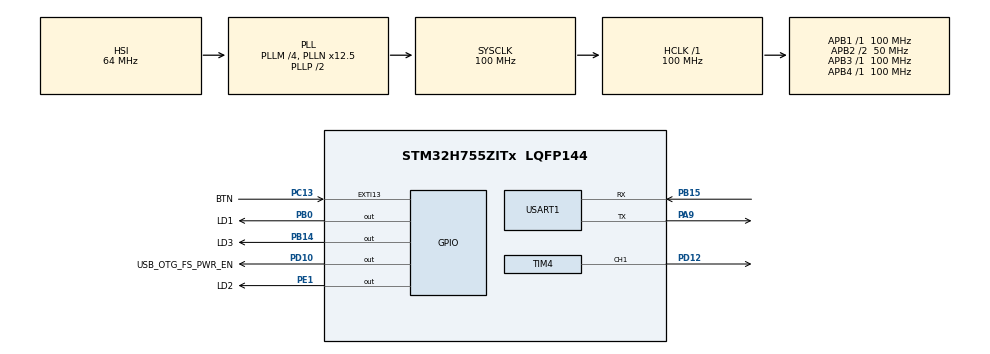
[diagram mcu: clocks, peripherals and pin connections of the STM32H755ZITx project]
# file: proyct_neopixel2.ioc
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CortexM4.IPs=FATFS_M4\:I,FREERTOS_M4\:I,IWDG2\:I,RCC,WWDG2\:I,DMA,BDMA,MDMA,NVIC2\:I,USART3,DEBUG,PDM2PCM_M4\:I,PWR,RESMGR_UTILITY,SYS_M4\:I,USB_DEVICE_M4\:I,USB_HOST_M4\:I,CORTEX_M4\:I,GPIO,OPENAMP_M4\:I,VREFBUF,NUCLEO-H755ZI-Q
CortexM7.IPs=FATFS_M7\:I,FREERTOS_M7\:I,IWDG1\:I,RCC\:I,WWDG1\:I,DMA\:I,BDMA\:I,MDMA\:I,NVIC1\:I,USART3\:I,SYS\:I,CORTEX_M7\:I,DEBUG\:I,PDM2PCM_M7\:I,PWR\:I,RESMGR_UTILITY\:I,USB_DEVICE_M7\:I,USB_HOST_M7\:I,GPIO\:I,OPENAMP_M7\:I,VREFBUF\:I,NUCLEO-H755ZI-Q\:I,MEMORYMAP\:I,TIM4\:I,USART1\:I
CortexM7.Pins=PC13,PB0,PB14,PE1
Dma.Request0=TIM4_CH1
Dma.TIM4_CH1.0.Direction=DMA_MEMORY_TO_PERIPH
Dma.TIM4_CH1.0.EventEnable=DISABLE
Dma.TIM4_CH1.0.FIFOMode=DMA_FIFOMODE_DISABLE
Dma.TIM4_CH1.0.Instance=DMA1_Stream0
Dma.TIM4_CH1.0.MemDataAlignment=DMA_MDATAALIGN_HALFWORD
Dma.TIM4_CH1.0.MemInc=DMA_MINC_ENABLE
Dma.TIM4_CH1.0.Mode=DMA_CIRCULAR
Dma.TIM4_CH1.0.PeriphDataAlignment=DMA_PDATAALIGN_HALFWORD
Dma.TIM4_CH1.0.PeriphInc=DMA_PINC_DISABLE
Dma.TIM4_CH1.0.Polarity=HAL_DMAMUX_REQ_GEN_RISING
Dma.TIM4_CH1.0.Priority=DMA_PRIORITY_LOW
Dma.TIM4_CH1.0.RequestNumber=1
Dma.TIM4_CH1.0.SignalID=NONE
Dma.TIM4_CH1.0.SyncEnable=DISABLE
Dma.TIM4_CH1.0.SyncPolarity=HAL_DMAMUX_SYNC_NO_EVENT
Dma.TIM4_CH1.0.SyncRequestNumber=1
Dma.TIM4_CH1.0.SyncSignalID=NONE
Mcu.Family=STM32H7
Mcu.Name=STM32H755ZITx
Mcu.Package=LQFP144
Mcu.UserConstants=LED_CNT-CortexM7,125
NVIC1.DMA1_Stream0_IRQn=true\:0\:0\:false\:false\:true\:false\:true\:true
NVIC1.EXTI15_10_IRQn=true\:0\:0\:false\:false\:true\:true\:true\:true
NVIC1.PriorityGroup=NVIC_PRIORITYGROUP_4
NVIC2.PriorityGroup=NVIC_PRIORITYGROUP_4
PA9.Mode=Asynchronous
PA9.PinAttribute=CortexM7
PA9.Signal=USART1_TX
PB0.GPIO_Label=LD1
PB0.GPIO_Speed=GPIO_SPEED_FREQ_HIGH
PB0.PinAttribute=CortexM7
PB0.Signal=GPIO_Output
PB14.GPIO_Label=LD3
PB14.GPIO_Speed=GPIO_SPEED_FREQ_HIGH
PB14.PinAttribute=CortexM7
PB14.Signal=GPIO_Output
PB15.Mode=Asynchronous
PB15.PinAttribute=CortexM7
PB15.Signal=USART1_RX
PC13.GPIO_Label=BTN
PC13.GPIO_ModeDefaultEXTI=GPIO_MODE_IT_RISING
PC13.GPIO_PuPd=GPIO_NOPULL
PC13.PinAttribute=CortexM7
PC13.Signal=GPXTI13
PD10.GPIO_Label=USB_OTG_FS_PWR_EN
PD10.PinAttribute=Free
PD10.Signal=GPIO_Output
PD12.GPIO_Speed=GPIO_SPEED_FREQ_VERY_HIGH
PD12.PinAttribute=CortexM7
PD12.Signal=S_TIM4_CH1
PE1.GPIO_Label=LD2
PE1.GPIO_Speed=GPIO_SPEED_FREQ_HIGH
PE1.PinAttribute=CortexM7
PE1.Signal=GPIO_Output
ProjectManager.HeapSize=M4-0x200,M7-0x200
ProjectManager.StackSize=M4-0x400,M7-0x400
ProjectManager.TargetToolchain=STM32CubeIDE
RCC.ADCFreq_Value=129000000
RCC.APB1Freq_Value=100000000
RCC.APB2Freq_Value=50000000
RCC.APB3Freq_Value=100000000
RCC.APB4Freq_Value=100000000
RCC.CortexFreq_Value=100000000
RCC.D2PPRE2=RCC_APB2_DIV2
RCC.DIVM1=4
RCC.DIVN1=12
RCC.DIVQ1=5
RCC.HCLKFreq_Value=100000000
RCC.PLL2FRACN=0
RCC.PLL3FRACN=0
RCC.PLLFRACN=4096
RCC.SYSCLKFreq_VALUE=100000000
RCC.SYSCLKSource=RCC_SYSCLKSOURCE_PLLCLK
RCC.SupplySource=PWR_DIRECT_SMPS_SUPPLY
RCC.USBFreq_Value=40000000
SH.S_TIM4_CH1.0=TIM4_CH1,PWM Generation1 CH1
TIM4.Channel-PWM\ Generation1\ CH1=TIM_CHANNEL_1
TIM4.Period=125
USART1.VirtualMode-Asynchronous=VM_ASYNC
VP_MEMORYMAP_VS_MEMORYMAP.Mode=CurAppReg
VP_SYS_M4_VS_Systick.Mode=SysTick
VP_TIM4_VS_ClockSourceINT.Mode=Internal
board=NUCLEO-H755ZI-Q

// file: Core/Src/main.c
/* USER CODE BEGIN Header */
/**
  ******************************************************************************
  * @file           : main.c
  * @brief          : Main program body
  ******************************************************************************
  * @attention
  *
  * Copyright (c) 2025 STMicroelectronics.
  * All rights reserved.
  *
  * This software is licensed under terms that can be found in the LICENSE file
  * in the root directory of this software component.
  * If no LICENSE file comes with this software, it is provided AS-IS.
  *
  ******************************************************************************
  */
/* USER CODE END Header */
#include "main.h"

/* USER CODE BEGIN Includes */
#include <stdio.h>            // <-- para printf
#include "ws2812_demos.h"
#include "ws2812.h"
/* USER CODE END Includes */

/* USER CODE BEGIN PD */
#define BTN_DEBOUNCE_MS 150U
/* DUAL_CORE_BOOT_SYNC_SEQUENCE: Define for dual core boot synchronization    */
/*                             demonstration code based on hardware semaphore */
/* This define is present in both CM7/CM4 projects                            */
/* To comment when developping/debugging on a single core                     */
/*#define DUAL_CORE_BOOT_SYNC_SEQUENCE*/

#if defined(DUAL_CORE_BOOT_SYNC_SEQUENCE)
#ifndef HSEM_ID_0
#define HSEM_ID_0 (0U) /* HW semaphore 0*/
#endif
#endif /* DUAL_CORE_BOOT_SYNC_SEQUENCE */

/* USER CODE END PD */

TIM_HandleTypeDef htim4;
DMA_HandleTypeDef hdma_tim4_ch1;

UART_HandleTypeDef huart1;

/* USER CODE BEGIN PV */
ws2812_handleTypeDef ws2812; // The WS2812 panel handler

static volatile uint8_t  g_led_index   = 0U;   // 0:LD1, 1:LD2, 2:LD3
static volatile uint32_t g_last_irq_ms = 0U;   // para debounce

/* USER CODE END PV */

void SystemClock_Config(void);
static void MX_GPIO_Init(void);
static void MX_DMA_Init(void);
static void MX_TIM4_Init(void);
static void MX_USART1_UART_Init(void);
/* USER CODE BEGIN PFP */

static void SetActiveLED(uint8_t idx);
static void ring_fill(uint8_t r, uint8_t g, uint8_t b);
/* USER CODE END PFP */

/* USER CODE BEGIN 0 */
int _write(int fd, char *ptr, int len) {
    HAL_StatusTypeDef hstatus;

    if (fd == 1 || fd == 2) {
        hstatus = HAL_UART_Transmit(&huart1, (uint8_t*) ptr, len, HAL_MAX_DELAY);
        if (hstatus == HAL_OK)
            return len;
        else
            return -1;
    }
    return -1;
}

// Done sending first half of the DMA buffer - this can now safely be updated
void HAL_TIM_PWM_PulseFinishedHalfCpltCallback(TIM_HandleTypeDef *htim) {

    if (htim->Instance == TIM4) {
        ws2812_update_buffer(&ws2812, &ws2812.dma_buffer[0]);
    }

}

// Done sending the second half of the DMA buffer - this can now be safely updated
void HAL_TIM_PWM_PulseFinishedCallback(TIM_HandleTypeDef *htim) {

    if (htim->Instance == TIM4) {
        ws2812_update_buffer(&ws2812, &ws2812.dma_buffer[BUFFER_SIZE]);
    }

}

/* USER CODE END 0 */

int main(void)
{

/* USER CODE BEGIN Boot_Mode_Sequence_0 */
#if defined(DUAL_CORE_BOOT_SYNC_SEQUENCE)
  int32_t timeout;
#endif /* DUAL_CORE_BOOT_SYNC_SEQUENCE */
/* USER CODE END Boot_Mode_Sequence_0 */

/* USER CODE BEGIN Boot_Mode_Sequence_1 */
#if defined(DUAL_CORE_BOOT_SYNC_SEQUENCE)
  /* Wait until CPU2 boots and enters in stop mode or timeout*/
  timeout = 0xFFFF;
  while((__HAL_RCC_GET_FLAG(RCC_FLAG_D2CKRDY) != RESET) && (timeout-- > 0));
  if ( timeout < 0 )
  {
  Error_Handler();
  }
#endif /* DUAL_CORE_BOOT_SYNC_SEQUENCE */
/* USER CODE END Boot_Mode_Sequence_1 */
  /* MCU Configuration--------------------------------------------------------*/

  /* Reset of all peripherals, Initializes the Flash interface and the Systick. */
  HAL_Init();

  /* Configure the system clock */
  SystemClock_Config();
/* USER CODE BEGIN Boot_Mode_Sequence_2 */
#if defined(DUAL_CORE_BOOT_SYNC_SEQUENCE)
/* When system initialization is finished, Cortex-M7 will release Cortex-M4 by means of
HSEM notification */
/*HW semaphore Clock enable*/
__HAL_RCC_HSEM_CLK_ENABLE();
/*Take HSEM */
HAL_HSEM_FastTake(HSEM_ID_0);
/*Release HSEM in order to notify the CPU2(CM4)*/
HAL_HSEM_Release(HSEM_ID_0,0);
/* wait until CPU2 wakes up from stop mode */
timeout = 0xFFFF;
while((__HAL_RCC_GET_FLAG(RCC_FLAG_D2CKRDY) == RESET) && (timeout-- > 0));
if ( timeout < 0 )
{
Error_Handler();
}
#endif /* DUAL_CORE_BOOT_SYNC_SEQUENCE */
/* USER CODE END Boot_Mode_Sequence_2 */

  /* Initialize all configured peripherals */
  MX_GPIO_Init();
  MX_DMA_Init();
  MX_TIM4_Init();
  MX_USART1_UART_Init();
  /* USER CODE BEGIN 2 */
  printf("WS2812_DEMO\n");

  ws2812_init(&ws2812, &htim4, TIM_CHANNEL_1, 16);

  zeroLedValues(&ws2812);

  SetActiveLED(0U); // arranca en LD1

  /* USER CODE END 2 */

  /* Infinite loop */
  while (1)
  {

  }
}

void SystemClock_Config(void)
{
  RCC_OscInitTypeDef RCC_OscInitStruct = {0};
  RCC_ClkInitTypeDef RCC_ClkInitStruct = {0};

  /** Supply configuration update enable
  */
  HAL_PWREx_ConfigSupply(PWR_DIRECT_SMPS_SUPPLY);

  /** Configure the main internal regulator output voltage
  */
  __HAL_PWR_VOLTAGESCALING_CONFIG(PWR_REGULATOR_VOLTAGE_SCALE3);

  while(!__HAL_PWR_GET_FLAG(PWR_FLAG_VOSRDY)) {}

  /** Initializes the RCC Oscillators according to the specified parameters
  * in the RCC_OscInitTypeDef structure.
  */
  RCC_OscInitStruct.OscillatorType = RCC_OSCILLATORTYPE_HSI;
  RCC_OscInitStruct.HSIState = RCC_HSI_DIV1;
  RCC_OscInitStruct.HSICalibrationValue = RCC_HSICALIBRATION_DEFAULT;
  RCC_OscInitStruct.PLL.PLLState = RCC_PLL_ON;
  RCC_OscInitStruct.PLL.PLLSource = RCC_PLLSOURCE_HSI;
  RCC_OscInitStruct.PLL.PLLM = 4;
  RCC_OscInitStruct.PLL.PLLN = 12;
  RCC_OscInitStruct.PLL.PLLP = 2;
  RCC_OscInitStruct.PLL.PLLQ = 5;
  RCC_OscInitStruct.PLL.PLLR = 2;
  RCC_OscInitStruct.PLL.PLLRGE = RCC_PLL1VCIRANGE_3;
  RCC_OscInitStruct.PLL.PLLVCOSEL = RCC_PLL1VCOWIDE;
  RCC_OscInitStruct.PLL.PLLFRACN = 4096;
  if (HAL_RCC_OscConfig(&RCC_OscInitStruct) != HAL_OK)
  {
    Error_Handler();
  }

  /** Initializes the CPU, AHB and APB buses clocks
  */
  RCC_ClkInitStruct.ClockType = RCC_CLOCKTYPE_HCLK|RCC_CLOCKTYPE_SYSCLK
                              |RCC_CLOCKTYPE_PCLK1|RCC_CLOCKTYPE_PCLK2
                              |RCC_CLOCKTYPE_D3PCLK1|RCC_CLOCKTYPE_D1PCLK1;
  RCC_ClkInitStruct.SYSCLKSource = RCC_SYSCLKSOURCE_PLLCLK;
  RCC_ClkInitStruct.SYSCLKDivider = RCC_SYSCLK_DIV1;
  RCC_ClkInitStruct.AHBCLKDivider = RCC_HCLK_DIV1;
  RCC_ClkInitStruct.APB3CLKDivider = RCC_APB3_DIV1;
  RCC_ClkInitStruct.APB1CLKDivider = RCC_APB1_DIV1;
  RCC_ClkInitStruct.APB2CLKDivider = RCC_APB2_DIV2;
  RCC_ClkInitStruct.APB4CLKDivider = RCC_APB4_DIV1;

  if (HAL_RCC_ClockConfig(&RCC_ClkInitStruct, FLASH_LATENCY_2) != HAL_OK)
  {
    Error_Handler();
  }
}

static void MX_TIM4_Init(void)
{

  TIM_ClockConfigTypeDef sClockSourceConfig = {0};
  TIM_MasterConfigTypeDef sMasterConfig = {0};
  TIM_OC_InitTypeDef sConfigOC = {0};

  htim4.Instance = TIM4;
  htim4.Init.Prescaler = 0;
  htim4.Init.CounterMode = TIM_COUNTERMODE_UP;
  htim4.Init.Period = 125;
  htim4.Init.ClockDivision = TIM_CLOCKDIVISION_DIV1;
  htim4.Init.AutoReloadPreload = TIM_AUTORELOAD_PRELOAD_DISABLE;
  if (HAL_TIM_Base_Init(&htim4) != HAL_OK)
  {
    Error_Handler();
  }
  sClockSourceConfig.ClockSource = TIM_CLOCKSOURCE_INTERNAL;
  if (HAL_TIM_ConfigClockSource(&htim4, &sClockSourceConfig) != HAL_OK)
  {
    Error_Handler();
  }
  if (HAL_TIM_PWM_Init(&htim4) != HAL_OK)
  {
    Error_Handler();
  }
  sMasterConfig.MasterOutputTrigger = TIM_TRGO_RESET;
  sMasterConfig.MasterSlaveMode = TIM_MASTERSLAVEMODE_DISABLE;
  if (HAL_TIMEx_MasterConfigSynchronization(&htim4, &sMasterConfig) != HAL_OK)
  {
    Error_Handler();
  }
  sConfigOC.OCMode = TIM_OCMODE_PWM1;
  sConfigOC.Pulse = 0;
  sConfigOC.OCPolarity = TIM_OCPOLARITY_HIGH;
  sConfigOC.OCFastMode = TIM_OCFAST_DISABLE;
  if (HAL_TIM_PWM_ConfigChannel(&htim4, &sConfigOC, TIM_CHANNEL_1) != HAL_OK)
  {
    Error_Handler();
  }
  HAL_TIM_MspPostInit(&htim4);

}

static void MX_USART1_UART_Init(void)
{

  huart1.Instance = USART1;
  huart1.Init.BaudRate = 115200;
  huart1.Init.WordLength = UART_WORDLENGTH_8B;
  huart1.Init.StopBits = UART_STOPBITS_1;
  huart1.Init.Parity = UART_PARITY_NONE;
  huart1.Init.Mode = UART_MODE_TX_RX;
  huart1.Init.HwFlowCtl = UART_HWCONTROL_NONE;
  huart1.Init.OverSampling = UART_OVERSAMPLING_16;
  huart1.Init.OneBitSampling = UART_ONE_BIT_SAMPLE_DISABLE;
  huart1.Init.ClockPrescaler = UART_PRESCALER_DIV1;
  huart1.AdvancedInit.AdvFeatureInit = UART_ADVFEATURE_NO_INIT;
  if (HAL_UART_Init(&huart1) != HAL_OK)
  {
    Error_Handler();
  }
  if (HAL_UARTEx_SetTxFifoThreshold(&huart1, UART_TXFIFO_THRESHOLD_1_8) != HAL_OK)
  {
    Error_Handler();
  }
  if (HAL_UARTEx_SetRxFifoThreshold(&huart1, UART_RXFIFO_THRESHOLD_1_8) != HAL_OK)
  {
    Error_Handler();
  }
  if (HAL_UARTEx_DisableFifoMode(&huart1) != HAL_OK)
  {
    Error_Handler();
  }

}

static void MX_DMA_Init(void)
{

  /* DMA controller clock enable */
  __HAL_RCC_DMA1_CLK_ENABLE();

  /* DMA interrupt init */
  /* DMA1_Stream0_IRQn interrupt configuration */
  HAL_NVIC_SetPriority(DMA1_Stream0_IRQn, 0, 0);
  HAL_NVIC_EnableIRQ(DMA1_Stream0_IRQn);

}

static void MX_GPIO_Init(void)
{
  GPIO_InitTypeDef GPIO_InitStruct = {0};

  /* GPIO Ports Clock Enable */
  __HAL_RCC_GPIOC_CLK_ENABLE();
  __HAL_RCC_GPIOB_CLK_ENABLE();
  __HAL_RCC_GPIOD_CLK_ENABLE();
  __HAL_RCC_GPIOA_CLK_ENABLE();
  __HAL_RCC_GPIOE_CLK_ENABLE();

  /*Configure GPIO pin Output Level */
  HAL_GPIO_WritePin(GPIOB, LD1_Pin|LD3_Pin, GPIO_PIN_RESET);

  /*Configure GPIO pin Output Level */
  HAL_GPIO_WritePin(LD2_GPIO_Port, LD2_Pin, GPIO_PIN_RESET);

  /*Configure GPIO pin : BTN_Pin */
  GPIO_InitStruct.Pin = BTN_Pin;
  GPIO_InitStruct.Mode = GPIO_MODE_IT_RISING;
  GPIO_InitStruct.Pull = GPIO_NOPULL;
  HAL_GPIO_Init(BTN_GPIO_Port, &GPIO_InitStruct);

  /*Configure GPIO pins : LD1_Pin LD3_Pin */
  GPIO_InitStruct.Pin = LD1_Pin|LD3_Pin;
  GPIO_InitStruct.Mode = GPIO_MODE_OUTPUT_PP;
  GPIO_InitStruct.Pull = GPIO_NOPULL;
  GPIO_InitStruct.Speed = GPIO_SPEED_FREQ_HIGH;
  HAL_GPIO_Init(GPIOB, &GPIO_InitStruct);

  /*Configure GPIO pin : LD2_Pin */
  GPIO_InitStruct.Pin = LD2_Pin;
  GPIO_InitStruct.Mode = GPIO_MODE_OUTPUT_PP;
  GPIO_InitStruct.Pull = GPIO_NOPULL;
  GPIO_InitStruct.Speed = GPIO_SPEED_FREQ_HIGH;
  HAL_GPIO_Init(LD2_GPIO_Port, &GPIO_InitStruct);

  /* EXTI interrupt init*/
  HAL_NVIC_SetPriority(BTN_EXTI_IRQn, 0, 0);
  HAL_NVIC_EnableIRQ(BTN_EXTI_IRQn);

  /* USER CODE BEGIN MX_GPIO_Init_2 */
  // NVIC EXTI (usa el alias que ya generó Cube: BTN_EXTI_IRQn)
  HAL_NVIC_SetPriority(BTN_EXTI_IRQn, 0, 0);
  HAL_NVIC_EnableIRQ(BTN_EXTI_IRQn);

  /* USER CODE END MX_GPIO_Init_2 */
}

/* USER CODE BEGIN 4 */
static void ring_fill(uint8_t r, uint8_t g, uint8_t b)
{
  // Ajusta 16 si tu anillo tiene otro número de LEDs
  for (uint16_t i = 0; i < 16; i++) {
    setLedValues(&ws2812, i, r, g, b);
  }

  // Si tu driver tiene una función de “commit/refresh/latch”, llámala aquí:
  // ws2812_show(&ws2812);        // [No verificado] depende de tu librería
  // ws2812_latch(&ws2812);       // [No verificado]
  // (Si no existe, los callbacks DMA irán tomando el buffer actualizado)
}

static void SetActiveLED(uint8_t idx)
{
  /* Apaga los 3 LEDs de placa */
  HAL_GPIO_WritePin(LD1_GPIO_Port, LD1_Pin, GPIO_PIN_RESET);
  HAL_GPIO_WritePin(LD2_GPIO_Port, LD2_Pin, GPIO_PIN_RESET);
  HAL_GPIO_WritePin(LD3_GPIO_Port, LD3_Pin, GPIO_PIN_RESET);

  switch (idx % 3U)
  {
    case 0U:
      /* LD1 ON + patrón para el anillo */
      HAL_GPIO_WritePin(LD1_GPIO_Port, LD1_Pin, GPIO_PIN_SET);
      ring_fill(40, 0,   0);   // ejemplo: todo rojo ~50% (ajusta a tu gusto)
      break;

    case 1U:
      HAL_GPIO_WritePin(LD2_GPIO_Port, LD2_Pin, GPIO_PIN_SET);
      ring_fill(10, 5, 0);   // igual que tu for
      // ws2812_show(&ws2812);   // [No verificado] si tu librería lo requiere
      break;

    default: /* case 2U */
      /* LD3 ON + otro patrón para el anillo */
      HAL_GPIO_WritePin(LD3_GPIO_Port, LD3_Pin, GPIO_PIN_SET);
      ring_fill(10,   10, 10);   // ejemplo: todo azul ~50%
      break;
  }
}
/* Callback HAL al atender EXTI en stm32h7xx_it.c */
void HAL_GPIO_EXTI_Callback(uint16_t GPIO_Pin)
{
  if (GPIO_Pin == BTN_Pin) {
    uint32_t now = HAL_GetTick();
    if ((now - g_last_irq_ms) < BTN_DEBOUNCE_MS) {
      return; // debounce
    }
    g_last_irq_ms = now;

    g_led_index = (uint8_t)((g_led_index + 1U) % 3U);
    SetActiveLED(g_led_index);
  }
}
/* USER CODE END 4 */

void Error_Handler(void)
{
  __disable_irq();
  while (1)
  {
  }
}
